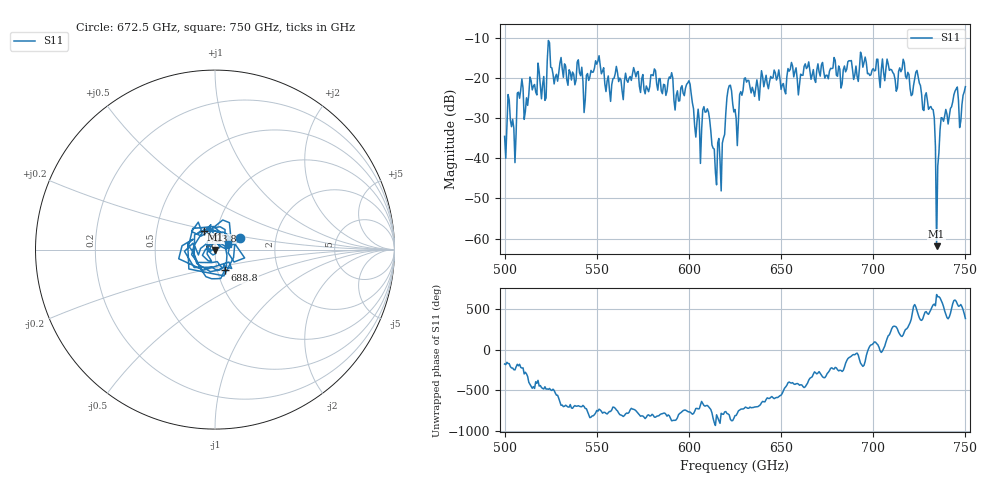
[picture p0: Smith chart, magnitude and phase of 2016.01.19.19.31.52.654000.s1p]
!Created with skrf (http://scikit-rf.org).
# GHz S RI R 50.0
!freq ReS11 ImS11
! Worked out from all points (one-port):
!   401 points, 500 GHz to 750 GHz, reference 50 ohm
!   lowest |S11| = -61.9 dB at 734.4 GHz (marker M1), VSWR 1.00, Z = 50.1 - j0.0504 ohm
!   |S11| at or under -10 dB: start of sweep to end of sweep
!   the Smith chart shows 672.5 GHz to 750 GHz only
!   S11 on the Smith chart (normalised r, x): 672.5 GHz: 1.31, +0.18; 688.8 GHz: 1.08, -0.25; 723.8 GHz: 0.86, +0.19; 750 GHz: 1.15, +0.08
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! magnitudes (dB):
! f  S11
! 500 GHz  -34.6
! 503.1 GHz  -30.5
! 505 GHz  -32.5
! 508.1 GHz  -25.1
! 511.9 GHz  -25.0
! 521.2 GHz  -19.7
! 524.4 GHz  -11.3
! 531.2 GHz  -17.7
! 562.5 GHz  -20.1
! 590 GHz  -20.1
! 593.8 GHz  -23.2
! 600 GHz  -20.7
! 605 GHz  -27.8
! 609.4 GHz  -28.5
! 616.2 GHz  -35.1
! 621.9 GHz  -21.9
! 625 GHz  -27.9
! 631.2 GHz  -21.1
! 656.2 GHz  -17.1
! 672.5 GHz  -16.2
! 687.5 GHz  -15.8
! 688.8 GHz  -17.9
! 718.8 GHz  -18.6
! 723.8 GHz  -18.2
! 731.9 GHz  -27.8
! 734.4 GHz  -61.9
! 738.1 GHz  -30.8
! 750 GHz  -22.2
